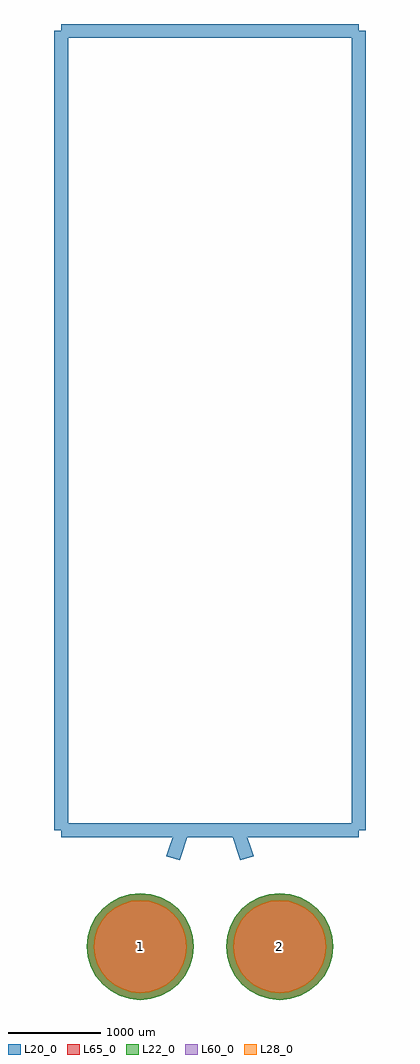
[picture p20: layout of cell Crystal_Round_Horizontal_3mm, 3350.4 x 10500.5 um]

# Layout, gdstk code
import gdstk
lib = gdstk.Library(unit=1e-6, precision=1e-09)
def P(c, l, *ps):  # polygons
    for p in ps: c.add(gdstk.Polygon(p, *l))
L20_0 = (20, 0)
L22_0 = (22, 0)
L28_0 = (28, 0)
L60_0 = (60, 0)
L65_0 = (65, 0)

crystal_round_horizontal = lib.new_cell('Crystal_Round_Horizontal_3mm')
P(crystal_round_horizontal, L22_0, [(1324.68,0),(1313.624,112.251),(1280.882,220.188),(1227.711,319.664),(1156.155,406.855),(1068.964,478.411),(969.488,531.582),(861.551,564.324),(749.3,575.38),(637.049,564.324),(529.112,531.582),(429.636,478.411),(342.445,406.855),(270.889,319.664),(217.718,220.188),(184.976,112.251),(173.92,0),(184.976,-112.251),(217.718,-220.188),(270.889,-319.664),(342.445,-406.855),(429.636,-478.411),(529.112,-531.582),(637.049,-564.324),(749.3,-575.38),(861.551,-564.324),(969.488,-531.582),(1068.964,-478.411),(1156.155,-406.855),(1227.711,-319.664),(1280.882,-220.188),(1313.624,-112.251)],
  [(-173.92,0),(-184.976,112.251),(-217.718,220.188),(-270.889,319.664),(-342.445,406.855),(-429.636,478.411),(-529.112,531.582),(-637.049,564.324),(-749.3,575.38),(-861.551,564.324),(-969.488,531.582),(-1068.964,478.411),(-1156.155,406.855),(-1227.711,319.664),(-1280.882,220.188),(-1313.624,112.251),(-1324.68,0),(-1313.624,-112.251),(-1280.882,-220.188),(-1227.711,-319.664),(-1156.155,-406.855),(-1068.964,-478.411),(-969.488,-531.582),(-861.551,-564.324),(-749.3,-575.38),(-637.049,-564.324),(-529.112,-531.582),(-429.636,-478.411),(-342.445,-406.855),(-270.889,-319.664),(-217.718,-220.188),(-184.976,-112.251)])
P(crystal_round_horizontal, L28_0, [(1249.68,0),(1240.065,97.619),(1211.591,191.487),(1165.351,277.996),(1103.122,353.822),(1027.296,416.051),(940.787,462.291),(846.919,490.765),(749.3,500.38),(651.681,490.765),(557.813,462.291),(471.304,416.051),(395.478,353.822),(333.249,277.996),(287.009,191.487),(258.535,97.619),(248.92,0),(258.535,-97.619),(287.009,-191.487),(333.249,-277.996),(395.478,-353.822),(471.304,-416.051),(557.813,-462.291),(651.681,-490.765),(749.3,-500.38),(846.919,-490.765),(940.787,-462.291),(1027.296,-416.051),(1103.122,-353.822),(1165.351,-277.996),(1211.591,-191.487),(1240.065,-97.619)],
  [(-248.92,0),(-258.535,97.619),(-287.009,191.487),(-333.249,277.996),(-395.478,353.822),(-471.304,416.051),(-557.813,462.291),(-651.681,490.765),(-749.3,500.38),(-846.919,490.765),(-940.787,462.291),(-1027.296,416.051),(-1103.122,353.822),(-1165.351,277.996),(-1211.591,191.487),(-1240.065,97.619),(-1249.68,0),(-1240.065,-97.619),(-1211.591,-191.487),(-1165.351,-277.996),(-1103.122,-353.822),(-1027.296,-416.051),(-940.787,-462.291),(-846.919,-490.765),(-749.3,-500.38),(-651.681,-490.765),(-557.813,-462.291),(-471.304,-416.051),(-395.478,-353.822),(-333.249,-277.996),(-287.009,-191.487),(-258.535,-97.619)])
P(crystal_round_horizontal, L60_0, [(1249.68,0),(1240.065,97.619),(1211.591,191.487),(1165.351,277.996),(1103.122,353.822),(1027.296,416.051),(940.787,462.291),(846.919,490.765),(749.3,500.38),(651.681,490.765),(557.813,462.291),(471.304,416.051),(395.478,353.822),(333.249,277.996),(287.009,191.487),(258.535,97.619),(248.92,0),(258.535,-97.619),(287.009,-191.487),(333.249,-277.996),(395.478,-353.822),(471.304,-416.051),(557.813,-462.291),(651.681,-490.765),(749.3,-500.38),(846.919,-490.765),(940.787,-462.291),(1027.296,-416.051),(1103.122,-353.822),(1165.351,-277.996),(1211.591,-191.487),(1240.065,-97.619)],
  [(-248.92,0),(-258.535,97.619),(-287.009,191.487),(-333.249,277.996),(-395.478,353.822),(-471.304,416.051),(-557.813,462.291),(-651.681,490.765),(-749.3,500.38),(-846.919,490.765),(-940.787,462.291),(-1027.296,416.051),(-1103.122,353.822),(-1165.351,277.996),(-1211.591,191.487),(-1240.065,97.619),(-1249.68,0),(-1240.065,-97.619),(-1211.591,-191.487),(-1165.351,-277.996),(-1103.122,-353.822),(-1027.296,-416.051),(-940.787,-462.291),(-846.919,-490.765),(-749.3,-500.38),(-651.681,-490.765),(-557.813,-462.291),(-471.304,-416.051),(-395.478,-353.822),(-333.249,-277.996),(-287.009,-191.487),(-258.535,-97.619)])
P(crystal_round_horizontal, L65_0, [(1324.68,0),(1313.624,112.251),(1280.882,220.188),(1227.711,319.664),(1156.155,406.855),(1068.964,478.411),(969.488,531.582),(861.551,564.324),(749.3,575.38),(637.049,564.324),(529.112,531.582),(429.636,478.411),(342.445,406.855),(270.889,319.664),(217.718,220.188),(184.976,112.251),(173.92,0),(184.976,-112.251),(217.718,-220.188),(270.889,-319.664),(342.445,-406.855),(429.636,-478.411),(529.112,-531.582),(637.049,-564.324),(749.3,-575.38),(861.551,-564.324),(969.488,-531.582),(1068.964,-478.411),(1156.155,-406.855),(1227.711,-319.664),(1280.882,-220.188),(1313.624,-112.251)],
  [(-173.92,0),(-184.976,112.251),(-217.718,220.188),(-270.889,319.664),(-342.445,406.855),(-429.636,478.411),(-529.112,531.582),(-637.049,564.324),(-749.3,575.38),(-861.551,564.324),(-969.488,531.582),(-1068.964,478.411),(-1156.155,406.855),(-1227.711,319.664),(-1280.882,220.188),(-1313.624,112.251),(-1324.68,0),(-1313.624,-112.251),(-1280.882,-220.188),(-1227.711,-319.664),(-1156.155,-406.855),(-1068.964,-478.411),(-969.488,-531.582),(-861.551,-564.324),(-749.3,-575.38),(-637.049,-564.324),(-529.112,-531.582),(-429.636,-478.411),(-342.445,-406.855),(-270.889,-319.664),(-217.718,-220.188),(-184.976,-112.251)])
crystal_round_horizontal.add(gdstk.FlexPath([(899.16,1249.68),(-899.16,1249.68)], 149.998, ends="flush", simple_path=True, layer=20, datatype=0))  # L20_0
crystal_round_horizontal.add(gdstk.FlexPath([(299.72,1249.68),(398.78,949.96)], 149.998, ends="flush", simple_path=True, layer=20, datatype=0))  # L20_0
crystal_round_horizontal.add(gdstk.FlexPath([(-299.72,1249.68),(-398.78,949.96)], 149.998, ends="flush", simple_path=True, layer=20, datatype=0))  # L20_0
crystal_round_horizontal.add(gdstk.FlexPath([(899.16,1249.68),(1600.2,1249.68)], 149.998, ends="flush", simple_path=True, layer=20, datatype=0))  # L20_0
crystal_round_horizontal.add(gdstk.FlexPath([(-850.9,1249.68),(-1600.2,1249.68)], 149.998, ends="flush", simple_path=True, layer=20, datatype=0))  # L20_0
crystal_round_horizontal.add(gdstk.FlexPath([(-1600.2,9850.12),(-1600.2,1249.68)], 149.998, ends="flush", simple_path=True, layer=20, datatype=0))  # L20_0
crystal_round_horizontal.add(gdstk.FlexPath([(1600.2,9850.12),(-1600.2,9850.12)], 149.998, ends="flush", simple_path=True, layer=20, datatype=0))  # L20_0
crystal_round_horizontal.add(gdstk.FlexPath([(1600.2,1249.68),(1600.2,9850.12)], 149.998, ends="flush", simple_path=True, layer=20, datatype=0))  # L20_0
crystal_round_horizontal.add(gdstk.Label('2', (749.3,0), layer=28, texttype=0))
crystal_round_horizontal.add(gdstk.Label('1', (-749.3,0), layer=28, texttype=0))
crystal_round_horizontal.add(gdstk.Label('type', (-248.92,-2750.82), layer=9, texttype=0))
crystal_round_horizontal.add(gdstk.Label('devicename', (248.92,11849.1), layer=9, texttype=0))

lib.write_gds('Crystal_Round_Horizontal_3mm.gds')
